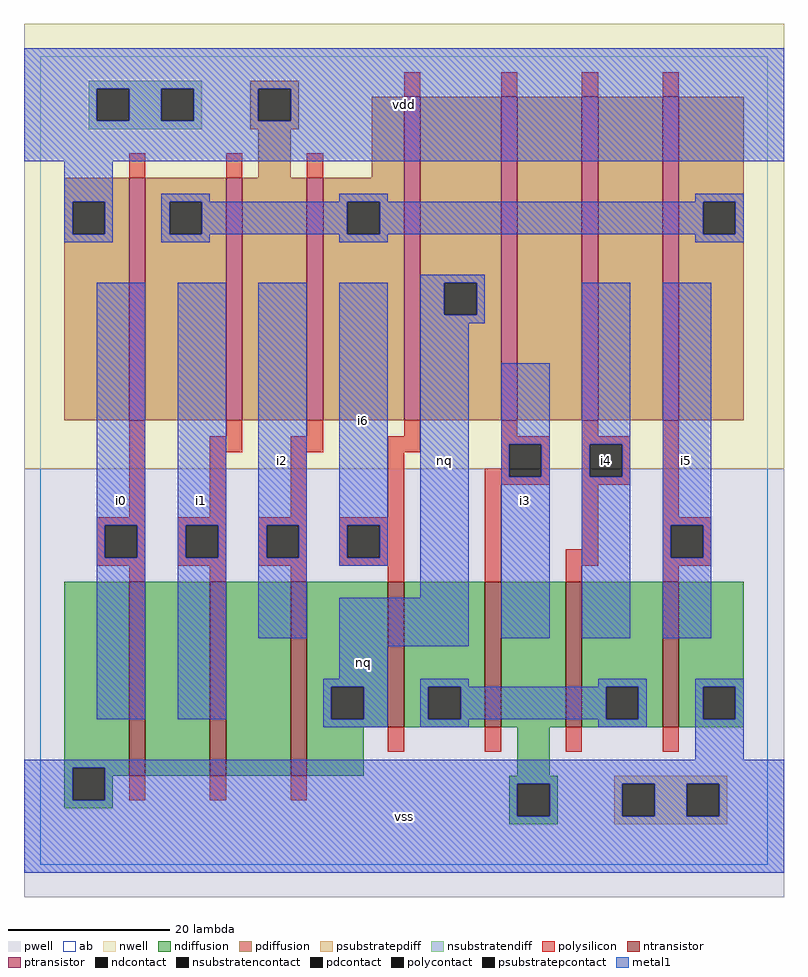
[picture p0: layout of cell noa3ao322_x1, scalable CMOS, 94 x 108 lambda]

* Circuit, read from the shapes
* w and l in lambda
.subckt noa3ao322_x1 i0 i1 i2 i3 i4 i5 i6 nq vdd vss
M1 n1 i0 vss vss nfet w=24 l=2
M2 n2 i1 n1 vss nfet w=24 l=2
M3 nq i2 n2 vss nfet w=24 l=2
M4 n3 i6 nq vss nfet w=18 l=2
M5 vss i3 n3 vss nfet w=18 l=2
M6 n3 i4 vss vss nfet w=18 l=2
M7 vss i5 n3 vss nfet w=18 l=2
M8 n4 i0 vdd vdd pfet w=30 l=2
M9 vdd i1 n4 vdd pfet w=30 l=2
M10 n4 i2 vdd vdd pfet w=30 l=2
M11 nq i6 n4 vdd pfet w=40 l=2
M12 n5 i3 nq vdd pfet w=40 l=2
M13 n6 i4 n5 vdd pfet w=40 l=2
M14 n4 i5 n6 vdd pfet w=40 l=2
.ends

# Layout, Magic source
magic
tech scmos
<< ab >>
rect 0 0 90 100
<< pwell >>
rect -2 -4 92 49
<< nwell >>
rect -2 49 92 104
<< polysilicon >>
rect 45 95 47 98
rect 57 95 59 98
rect 67 95 69 98
rect 77 95 79 98
rect 11 85 13 88
rect 23 85 25 88
rect 33 85 35 88
rect 11 43 13 55
rect 23 53 25 55
rect 33 53 35 55
rect 45 53 47 55
rect 21 51 25 53
rect 31 51 35 53
rect 43 51 47 53
rect 57 53 59 55
rect 67 53 69 55
rect 57 52 63 53
rect 21 43 23 51
rect 31 43 33 51
rect 43 43 45 51
rect 57 49 58 52
rect 7 42 13 43
rect 7 38 8 42
rect 12 38 13 42
rect 7 37 13 38
rect 17 42 23 43
rect 17 38 18 42
rect 22 38 23 42
rect 17 37 23 38
rect 27 42 33 43
rect 27 38 28 42
rect 32 38 33 42
rect 27 37 33 38
rect 37 42 45 43
rect 37 38 38 42
rect 42 38 45 42
rect 37 37 45 38
rect 11 35 13 37
rect 21 35 23 37
rect 31 35 33 37
rect 43 35 45 37
rect 55 48 58 49
rect 62 48 63 52
rect 55 47 63 48
rect 67 52 73 53
rect 67 48 68 52
rect 72 48 73 52
rect 67 47 73 48
rect 55 35 57 47
rect 67 39 69 47
rect 65 37 69 39
rect 77 43 79 55
rect 77 42 83 43
rect 77 38 78 42
rect 82 38 83 42
rect 77 37 83 38
rect 65 35 67 37
rect 77 35 79 37
rect 43 14 45 17
rect 55 14 57 17
rect 65 14 67 17
rect 77 14 79 17
rect 11 8 13 11
rect 21 8 23 11
rect 31 8 33 11
<< ndiffusion >>
rect 3 12 11 35
rect 3 8 4 12
rect 8 11 11 12
rect 13 11 21 35
rect 23 11 31 35
rect 33 22 43 35
rect 33 18 36 22
rect 40 18 43 22
rect 33 17 43 18
rect 45 22 55 35
rect 45 18 48 22
rect 52 18 55 22
rect 45 17 55 18
rect 57 17 65 35
rect 67 22 77 35
rect 67 18 70 22
rect 74 18 77 22
rect 67 17 77 18
rect 79 22 87 35
rect 79 18 82 22
rect 86 18 87 22
rect 79 17 87 18
rect 33 11 40 17
rect 59 11 63 17
rect 8 8 9 11
rect 58 10 64 11
rect 3 7 9 8
rect 58 6 59 10
rect 63 6 64 10
rect 58 5 64 6
<< pdiffusion >>
rect 26 96 32 97
rect 26 92 27 96
rect 31 92 32 96
rect 26 91 32 92
rect 27 85 31 91
rect 41 85 45 95
rect 3 82 11 85
rect 3 78 4 82
rect 8 78 11 82
rect 3 55 11 78
rect 13 82 23 85
rect 13 78 16 82
rect 20 78 23 82
rect 13 55 23 78
rect 25 55 33 85
rect 35 82 45 85
rect 35 78 38 82
rect 42 78 45 82
rect 35 55 45 78
rect 47 72 57 95
rect 47 68 50 72
rect 54 68 57 72
rect 47 55 57 68
rect 59 55 67 95
rect 69 55 77 95
rect 79 82 87 95
rect 79 78 82 82
rect 86 78 87 82
rect 79 55 87 78
<< metal1 >>
rect -2 96 92 101
rect -2 92 7 96
rect 11 92 15 96
rect 19 92 27 96
rect 31 92 92 96
rect -2 87 92 92
rect 3 82 9 87
rect 3 78 4 82
rect 8 78 9 82
rect 3 77 9 78
rect 15 82 21 83
rect 37 82 43 83
rect 81 82 87 83
rect 15 78 16 82
rect 20 78 38 82
rect 42 78 82 82
rect 86 78 87 82
rect 15 77 21 78
rect 37 77 43 78
rect 81 77 87 78
rect 47 72 55 73
rect 7 42 13 72
rect 7 38 8 42
rect 12 38 13 42
rect 7 18 13 38
rect 17 42 23 72
rect 17 38 18 42
rect 22 38 23 42
rect 17 18 23 38
rect 27 42 33 72
rect 27 38 28 42
rect 32 38 33 42
rect 27 28 33 38
rect 37 42 43 72
rect 37 38 38 42
rect 42 38 43 42
rect 37 37 43 38
rect 47 68 50 72
rect 54 68 55 72
rect 47 67 55 68
rect 47 33 53 67
rect 37 27 53 33
rect 57 52 63 62
rect 57 48 58 52
rect 62 48 63 52
rect 57 28 63 48
rect 67 52 73 72
rect 67 48 68 52
rect 72 48 73 52
rect 67 28 73 48
rect 77 42 83 72
rect 77 38 78 42
rect 82 38 83 42
rect 77 28 83 38
rect 37 23 43 27
rect 35 22 43 23
rect 35 18 36 22
rect 40 18 43 22
rect 35 17 43 18
rect 47 22 53 23
rect 69 22 75 23
rect 47 18 48 22
rect 52 18 70 22
rect 74 18 75 22
rect 47 17 53 18
rect 69 17 75 18
rect 81 22 87 23
rect 81 18 82 22
rect 86 18 87 22
rect 81 13 87 18
rect -2 12 92 13
rect -2 8 4 12
rect 8 10 92 12
rect 8 8 59 10
rect -2 6 59 8
rect 63 6 72 10
rect 76 6 80 10
rect 84 6 92 10
rect -2 -1 92 6
<< ntransistor >>
rect 11 11 13 35
rect 21 11 23 35
rect 31 11 33 35
rect 43 17 45 35
rect 55 17 57 35
rect 65 17 67 35
rect 77 17 79 35
<< ptransistor >>
rect 11 55 13 85
rect 23 55 25 85
rect 33 55 35 85
rect 45 55 47 95
rect 57 55 59 95
rect 67 55 69 95
rect 77 55 79 95
<< polycontact >>
rect 8 38 12 42
rect 18 38 22 42
rect 28 38 32 42
rect 38 38 42 42
rect 58 48 62 52
rect 68 48 72 52
rect 78 38 82 42
<< ndcontact >>
rect 4 8 8 12
rect 36 18 40 22
rect 48 18 52 22
rect 70 18 74 22
rect 82 18 86 22
rect 59 6 63 10
<< pdcontact >>
rect 27 92 31 96
rect 4 78 8 82
rect 16 78 20 82
rect 38 78 42 82
rect 50 68 54 72
rect 82 78 86 82
<< psubstratepcontact >>
rect 72 6 76 10
rect 80 6 84 10
<< nsubstratencontact >>
rect 7 92 11 96
rect 15 92 19 96
<< psubstratepdiff >>
rect 71 10 85 11
rect 71 6 72 10
rect 76 6 80 10
rect 84 6 85 10
rect 71 5 85 6
<< nsubstratendiff >>
rect 6 96 20 97
rect 6 92 7 96
rect 11 92 15 96
rect 19 92 20 96
rect 6 91 20 92
<< labels >>
rlabel metal1 10 45 10 45 6 i0
rlabel metal1 10 45 10 45 6 i0
rlabel metal1 30 50 30 50 6 i2
rlabel metal1 20 45 20 45 6 i1
rlabel metal1 30 50 30 50 6 i2
rlabel metal1 20 45 20 45 6 i1
rlabel metal1 45 6 45 6 6 vss
rlabel metal1 45 6 45 6 6 vss
rlabel metal1 40 25 40 25 6 nq
rlabel metal1 40 25 40 25 6 nq
rlabel metal1 50 50 50 50 6 nq
rlabel metal1 40 55 40 55 6 i6
rlabel metal1 50 50 50 50 6 nq
rlabel metal1 40 55 40 55 6 i6
rlabel metal1 45 94 45 94 6 vdd
rlabel metal1 45 94 45 94 6 vdd
rlabel polycontact 70 50 70 50 6 i4
rlabel metal1 60 45 60 45 6 i3
rlabel polycontact 70 50 70 50 6 i4
rlabel metal1 60 45 60 45 6 i3
rlabel metal1 80 50 80 50 6 i5
rlabel metal1 80 50 80 50 6 i5
<< end >>
